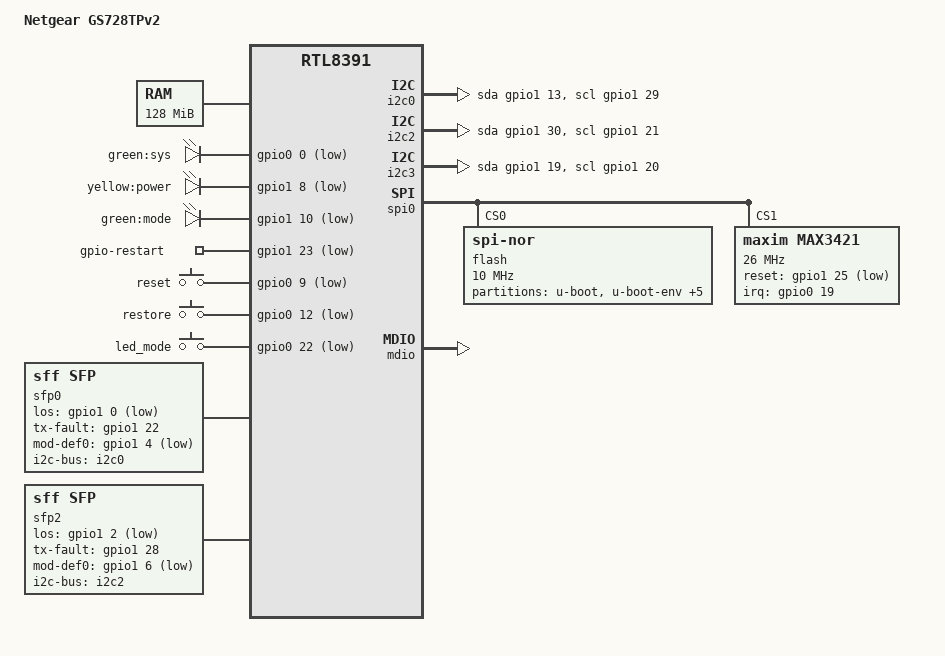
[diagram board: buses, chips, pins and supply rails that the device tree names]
/dts-v1/;

#include "rtl839x.dtsi"

#include <dt-bindings/input/input.h>
#include <dt-bindings/gpio/gpio.h>
#include <dt-bindings/interrupt-controller/irq.h>

/ {
	compatible = "netgear,gs728tpv2", "realtek,rtl8391-soc";
	model = "Netgear GS728TPv2";

	aliases {
		led-boot = &led_sys;
		led-failsafe = &led_sys;
		led-running = &led_sys;
		led-upgrade = &led_sys;
	};	

	memory@0 {
		device_type = "memory";
		reg = <0x0 0x8000000>;
	};

	chosen {
		bootargs = "console=ttyS0,115200";
	};

	leds {
		pinctrl-names = "default";
		pinctrl-0 = <&pinmux_disable_sys_led>;
		compatible = "gpio-leds";

		led_sys: sys {
			label = "green:sys";
			gpios = <&gpio0 0 GPIO_ACTIVE_LOW>;
		};

		led_power: power {
			label = "yellow:power";
			gpios = <&gpio1 8 GPIO_ACTIVE_LOW>;
		};

/* 	These leds seem to be controlled by a different microprocessor
		led_fan: fan {
			label = "orange:fan";
			gpios = <&gpio0 0 GPIO_ACTIVE_LOW>;
		};

		led_poemax: poemax {
			label = "red:poemax";
			gpios = <&gpio0 0 GPIO_ACTIVE_LOW>;
		};
*/

		led_mode: mode {
			label = "green:mode";
			gpios = <&gpio1 10 GPIO_ACTIVE_LOW>;
		};
	};

	gpio-restart {
		compatible = "gpio-restart";
		gpios = <&gpio1 23 GPIO_ACTIVE_LOW>;
	};

/*	max3421 {
		gpio-hog;
		gpios = <&gpio1 19 GPIO_ACTIVE_HIGH>;
		output-high;
		line-name = "max3421_power";
	}; */

	keys {
		compatible = "gpio-keys";

		reset {
			label = "reset";
			gpios = <&gpio0 9 GPIO_ACTIVE_LOW>;
			linux,code = <KEY_RESTART>;
		};
		restore {
			label = "restore";
			gpios = <&gpio0 12 GPIO_ACTIVE_LOW>;
			linux,code = <BTN_0>;
		};
		mode {
			label = "led_mode";
			gpios = <&gpio0 22 GPIO_ACTIVE_LOW>;
			linux,code = <BTN_1>;
		};
	};

	led_set: led_set@0 {
		compatible = "realtek,rtl8390-leds";
		leds_per_port = <2>;
		led_mode = "serial";
		led_set0 = <0x0a 0x0f 0x1f>;  // 10/100 (yellow) and 1000MBit (green)
	};

	gpio1: rtl8231-gpio {
		compatible = "realtek,rtl8231-gpio";
		#gpio-cells = <2>;
		gpio-controller;
		indirect-access-bus-id = <0x1f>;
		status = "okay";
		// the reset pin for the RTL8231 is gpio0 21 GPIO_ACTIVE_LOW
	};

	/* I2C bus of the upper left SFP cage (lan25), port 24 */
	i2c0: i2c-gpio-0 {
		compatible = "i2c-gpio";
		sda-gpios = <&gpio1 13 (GPIO_ACTIVE_HIGH | GPIO_OPEN_DRAIN)>;
		scl-gpios = <&gpio1 29 (GPIO_ACTIVE_HIGH | GPIO_OPEN_DRAIN)>;
		i2c-gpio,delay-us = <2>;
		#address-cells = <1>;
		#size-cells = <0>;
	};

	sfp0: sfp-p24 {
		compatible = "sff,sfp";
		i2c-bus = <&i2c0>;
		los-gpio = <&gpio1 0 GPIO_ACTIVE_LOW>;
		tx-fault-gpio = <&gpio1 22 GPIO_ACTIVE_HIGH>;
		mod-def0-gpio = <&gpio1 4 GPIO_ACTIVE_LOW>;
	};

	/* I2C bus of the lower left SFP cage (lan26), port 25
	 * Commented out because of i2c-gpio limitation
	i2c1: i2c-gpio-1 {
		compatible = "i2c-gpio";
		sda-gpios = <&gpio1 14 (GPIO_ACTIVE_HIGH | GPIO_OPEN_DRAIN)>;
		scl-gpios = <&gpio1 29 (GPIO_ACTIVE_HIGH | GPIO_OPEN_DRAIN)>;
		i2c-gpio,delay-us = <2>;
		#address-cells = <1>;
		#size-cells = <0>;
	};

	sfp1: sfp-p25 {
		compatible = "sff,sfp";
		i2c-bus = <&i2c1>;
		los-gpio = <&gpio1 1 GPIO_ACTIVE_LOW>;
		tx-fault-gpio = <&gpio1 22 GPIO_ACTIVE_HIGH>;
		mod-def0-gpio = <&gpio1 5 GPIO_ACTIVE_LOW>;
	}; */

	/* I2C bus of the upper right SFP cage (lan27), port 26 */
	i2c2: i2c-gpio-2 {
		compatible = "i2c-gpio";
		sda-gpios = <&gpio1 30 (GPIO_ACTIVE_HIGH | GPIO_OPEN_DRAIN)>;
		scl-gpios = <&gpio1 21 (GPIO_ACTIVE_HIGH | GPIO_OPEN_DRAIN)>;
		i2c-gpio,delay-us = <2>;
		#address-cells = <1>;
		#size-cells = <0>;
	};

	sfp2: sfp-p26 {
		compatible = "sff,sfp";
		i2c-bus = <&i2c2>;
		los-gpio = <&gpio1 2 GPIO_ACTIVE_LOW>;
		tx-fault-gpio = <&gpio1 28 GPIO_ACTIVE_HIGH>;
		mod-def0-gpio = <&gpio1 6 GPIO_ACTIVE_LOW>;
	};

	/* I2C bus of the lower right SFP cage (lan28), port 27
	 * Commented out because of i2c-gpio limitation
	i2c3: i2c-gpio-3 {
		compatible = "i2c-gpio";
		sda-gpios = <&gpio1 30 (GPIO_ACTIVE_HIGH | GPIO_OPEN_DRAIN)>;
		scl-gpios = <&gpio1 22 (GPIO_ACTIVE_HIGH | GPIO_OPEN_DRAIN)>;
		i2c-gpio,delay-us = <2>;
		#address-cells = <1>;
		#size-cells = <0>;
	};

	sfp3: sfp-p27 {
		compatible = "sff,sfp";
		i2c-bus = <&i2c3>;
		los-gpio = <&gpio1 3 GPIO_ACTIVE_LOW>;
		tx-fault-gpio = <&gpio1 28 GPIO_ACTIVE_HIGH>;
		mod-def0-gpio = <&gpio1 7 GPIO_ACTIVE_LOW>;
	}; */

	/* I2C bus for fan control */
	i2c3: i2c-gpio-4 {
		compatible = "i2c-gpio";
		sda-gpios = <&gpio1 19 (GPIO_ACTIVE_HIGH | GPIO_OPEN_DRAIN)>;
		scl-gpios = <&gpio1 20 (GPIO_ACTIVE_HIGH | GPIO_OPEN_DRAIN)>;
		i2c-gpio,delay-us = <2>;
		#address-cells = <1>;
		#size-cells = <0>;
	};
};


&spi0 {
	status = "okay";
	flash@0 {
		compatible = "jedec,spi-nor";
		reg = <0>;
		spi-max-frequency = <10000000>;

		partitions {
			compatible = "fixed-partitions";
			#address-cells = <1>;
			#size-cells = <1>;

			partition@0 {
				label = "u-boot";
				reg = <0x0 0xe0000>;
				read-only;
			};
			partition@40000 {
				label = "u-boot-env";
				reg = <0xe0000 0x10000>;
				read-only;
			};
			partition@50000 {
				label = "u-boot-env2";
				reg = <0xf0000 0x10000>;
				read-only;
			};
			partition@60000 {
				label = "jffs";
				reg = <0x100000 0x100000>;
			};
			partition@160000 {
				label = "jffs2";
				reg = <0x200000 0x100000>;
			};
			partition@b260000 {
				label = "firmware";
				reg = <0x300000 0xe80000>;
				compatible = "openwrt,uimage", "denx,uimage";
				openwrt,ih-magic = <0x83800000>;
			};
			partition@930000 {
				label = "runtime2";
				reg = <0x1180000 0xe80000>;
			};
		};
	};

	max3421@0 {
		compatible = "maxim,max3421";
		reg = <1>;
		maxim,vbus-en-pin = <8 1>;
		spi-max-frequency = <26000000>;
		interrupt-parent = <&gpio0>;
		interrupts = <19 IRQ_TYPE_EDGE_FALLING>;
		interrupt-names = "usb";

		gpio-reset = <&gpio1 25 GPIO_ACTIVE_LOW>;
	};
};

&ethernet0 {
	mdio: mdio-bus {
		compatible = "realtek,rtl838x-mdio";
		regmap = <&ethernet0>;
		#address-cells = <1>;
		#size-cells = <0>;
		
		/* External phy RTL8218B #1 */
		EXTERNAL_PHY(0)
		EXTERNAL_PHY(1)
		EXTERNAL_PHY(2)
		EXTERNAL_PHY(3)
		EXTERNAL_PHY(4)
		EXTERNAL_PHY(5)
		EXTERNAL_PHY(6)
		EXTERNAL_PHY(7)

		/* External phy RTL8218B #2 */
		EXTERNAL_PHY(8)
		EXTERNAL_PHY(9)
		EXTERNAL_PHY(10)
		EXTERNAL_PHY(11)
		EXTERNAL_PHY(12)
		EXTERNAL_PHY(13)
		EXTERNAL_PHY(14)
		EXTERNAL_PHY(15)

		/* External phy RTL8218B #3 */
		EXTERNAL_PHY(16)
		EXTERNAL_PHY(17)
		EXTERNAL_PHY(18)
		EXTERNAL_PHY(19)
		EXTERNAL_PHY(20)
		EXTERNAL_PHY(21)
		EXTERNAL_PHY(22)
		EXTERNAL_PHY(23)

		/* External RTL8214QF SFP PHY */
		EXTERNAL_SFP_PHY(24)
		EXTERNAL_SFP_PHY(25)
//		EXTERNAL_PHY(26)
		EXTERNAL_SFP_PHY(26)
		EXTERNAL_SFP_PHY(27)
	};
};

&switch0 {
	ports {
		#address-cells = <1>;
		#size-cells = <0>;

		SWITCH_PORT(0, 01, qsgmii)
		SWITCH_PORT(1, 02, qsgmii)
		SWITCH_PORT(2, 03, qsgmii)
		SWITCH_PORT(3, 04, qsgmii)
		SWITCH_PORT(4, 05, qsgmii)
		SWITCH_PORT(5, 06, qsgmii)
		SWITCH_PORT(6, 07, qsgmii)
		SWITCH_PORT(7, 08, qsgmii)

		SWITCH_PORT(8, 09, qsgmii)
		SWITCH_PORT(9, 10, qsgmii)
		SWITCH_PORT(10, 11, qsgmii)
		SWITCH_PORT(11, 12, qsgmii)
		SWITCH_PORT(12, 13, qsgmii)
		SWITCH_PORT(13, 14, qsgmii)
		SWITCH_PORT(14, 15, qsgmii)
		SWITCH_PORT(15, 16, qsgmii)

		SWITCH_PORT(16, 17, qsgmii)
		SWITCH_PORT(17, 18, qsgmii)
		SWITCH_PORT(18, 19, qsgmii)
		SWITCH_PORT(19, 20, qsgmii)
		SWITCH_PORT(20, 21, qsgmii)
		SWITCH_PORT(21, 22, qsgmii)
		SWITCH_PORT(22, 23, qsgmii)
		SWITCH_PORT(23, 24, qsgmii)

//		SWITCH_SFP_PORT_N(24, 25, rgmii-id, 0)
		SWITCH_PORT(24, 25, qsgmii)
		SWITCH_PORT(25, 26, qsgmii)
		SWITCH_PORT(26, 27, qsgmii)
		SWITCH_PORT(27, 28, qsgmii)
/*		port@26 {
			reg = <26>;
			label = "lan27";
			phy-mode = "1000base-x";
			managed = "in-band-status";
			sfp = <&sfp2>;
		};
*/
		/* CPU-Port */
		port@52 {
			ethernet = <&ethernet0>;
			reg = <52>;
			phy-mode = "qsgmii";
			fixed-link {
				speed = <1000>;
				full-duplex;
			};
		};
	};
};
